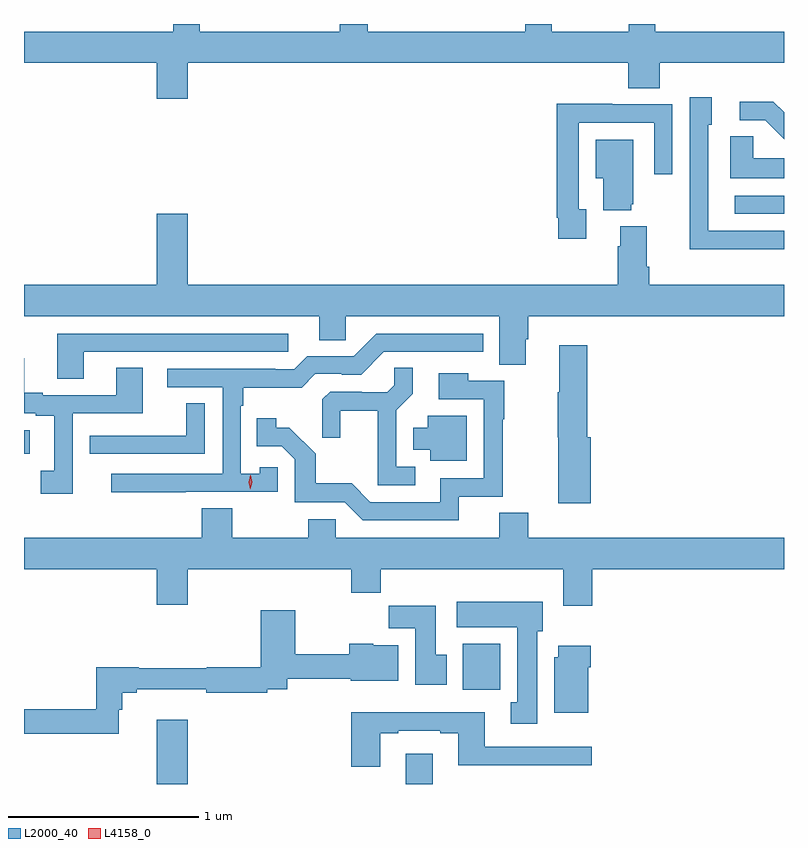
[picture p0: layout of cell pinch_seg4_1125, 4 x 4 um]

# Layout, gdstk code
import gdstk
lib = gdstk.Library(unit=1e-6, precision=1e-09)
def R(c, l, rs):  # rectangles x0, y0, x1, y1
    for r in rs: c.add(gdstk.rectangle(r[:2], r[2:], *l))
def P(c, l, *ps):  # polygons
    for p in ps: c.add(gdstk.Polygon(p, *l))
L2000_40 = (2000, 40)
L4158_0 = (4158, 0)

pinch_seg4_1125 = lib.new_cell('pinch_seg4_1125')
R(pinch_seg4_1125, L2000_40, [(452.72,751.733,452.884,752.071), (454.031,751.733,454.171,751.891), (454.331,752.228,454.528,752.47), (452.021,753.471,452.05,753.595), (455.763,754.734,456.021,754.83)])
P(pinch_seg4_1125, L2000_40, [(452.884,755.528),(455.201,755.528),(455.201,755.395),(455.366,755.395),(455.366,755.528),(456.021,755.528),(456.021,755.692),(455.344,755.692),(455.344,755.733),(455.204,755.733),(455.204,755.692),(454.798,755.692),(454.798,755.733),(454.659,755.733),(454.659,755.692),(453.831,755.692),(453.831,755.733),(453.683,755.733),(453.683,755.692),(452.947,755.692),(452.947,755.733),(452.807,755.733),(452.807,755.692),(452.021,755.692),(452.021,755.528),(452.72,755.528),(452.72,755.34),(452.884,755.34)],
  [(455.987,754.548),(456.021,754.548),(456.021,754.644),(455.622,754.644),(455.622,755.202),(455.641,755.202),(455.641,755.347),(455.526,755.347),(455.526,754.853),(455.524,754.853),(455.524,754.547),(455.987,754.547)],
  [(456.021,755.268),(455.965,755.324),(455.787,755.324),(455.787,755.226),(455.921,755.226),(456.021,755.126)],
  [(454.981,754.758),(454.941,754.758),(454.941,755.214),(455.337,755.214),(455.337,754.941),(455.433,754.941),(455.433,755.31),(455.117,755.31),(455.117,755.312),(454.825,755.312),(454.825,754.714),(454.833,754.714),(454.833,754.602),(454.981,754.602)],
  [(456.021,755.026),(455.859,755.026),(455.859,755.141),(455.738,755.141),(455.738,754.922),(456.021,754.922)],
  [(455.216,754.785),(455.227,754.785),(455.227,755.125),(455.03,755.125),(455.03,754.922),(455.069,754.922),(455.069,754.754),(455.216,754.754)],
  [(454.663,754.074),(454.676,754.074),(454.676,754.196),(456.021,754.196),(456.021,754.36),(455.312,754.36),(455.312,754.456),(455.299,754.456),(455.299,754.669),(455.159,754.669),(455.159,754.562),(455.147,754.562),(455.147,754.36),(452.884,754.36),(452.884,754.735),(452.72,754.735),(452.72,754.36),(452.021,754.36),(452.021,754.196),(453.575,754.196),(453.575,754.069),(453.714,754.069),(453.714,754.196),(454.523,754.196),(454.523,753.94),(454.663,753.94)],
  [(452.873,753.27),(453.357,753.27),(453.357,753.399),(453.261,753.399),(453.261,753.367),(453.162,753.367),(453.162,753.725),(453.175,753.725),(453.175,753.818),(453.482,753.818),(453.555,753.891),(453.694,753.891),(453.694,753.888),(453.795,753.888),(453.915,754.008),(454.438,754.008),(454.438,754.104),(453.876,754.104),(453.756,753.984),(453.513,753.984),(453.444,753.915),(453.344,753.915),(453.344,753.918),(452.775,753.918),(452.775,753.822),(453.066,753.822),(453.066,753.366),(452.481,753.366),(452.481,753.268),(452.873,753.268)],
  [(452.335,754.008),(453.412,754.008),(453.412,754.104),(452.195,754.104),(452.195,753.865),(452.335,753.865)],
  [(455.003,753.558),(454.985,753.558),(454.985,754.042),(454.838,754.042),(454.838,753.794),(454.831,753.794),(454.831,753.558),(454.832,753.558),(454.832,753.21),(455.003,753.21)],
  [(452.277,753.684),(452.647,753.684),(452.647,753.923),(452.507,753.923),(452.507,753.78),(452.119,753.78),(452.119,753.793),(452.023,753.793),(452.023,753.973),(452.021,753.973),(452.021,753.684),(452.084,753.684),(452.084,753.672),(452.18,753.672),(452.18,753.381),(452.109,753.381),(452.109,753.261),(452.277,753.261)],
  [(454.081,753.402),(453.981,753.402),(453.981,753.701),(454.067,753.787),(454.067,753.923),(453.969,753.923),(453.969,753.832),(453.932,753.795),(453.798,753.795),(453.798,753.798),(453.633,753.798),(453.592,753.757),(453.592,753.555),(453.686,753.555),(453.686,753.698),(453.884,753.698),(453.884,753.306),(454.081,753.306)],
  [(454.31,753.246),(454.541,753.246),(454.541,753.652),(454.549,753.652),(454.549,753.855),(454.359,753.855),(454.359,753.895),(454.203,753.895),(454.203,753.759),(454.44,753.759),(454.44,753.342),(454.211,753.342),(454.211,753.216),(453.843,753.216),(453.745,753.315),(453.556,753.315),(453.556,753.47),(453.418,753.608),(453.348,753.608),(453.348,753.658),(453.247,753.658),(453.247,753.51),(453.378,753.51),(453.447,753.441),(453.447,753.216),(453.708,753.216),(453.804,753.12),(454.31,753.12)],
  [(452.973,753.737),(452.875,753.737),(452.875,753.567),(452.479,753.567),(452.479,753.566),(452.367,753.566),(452.367,753.471),(452.973,753.471)],
  [(454.351,753.67),(454.145,753.67),(454.145,753.607),(454.07,753.607),(454.07,753.491),(454.16,753.491),(454.16,753.434),(454.351,753.434)],
  [(455.012,752.864),(456.021,752.864),(456.021,753.028),(454.676,753.028),(454.676,753.161),(454.523,753.161),(454.523,753.028),(453.663,753.028),(453.663,753.126),(453.517,753.126),(453.517,753.028),(453.117,753.028),(453.117,753.185),(452.957,753.185),(452.957,753.028),(452.021,753.028),(452.021,752.864),(452.72,752.864),(452.72,752.676),(452.884,752.676),(452.884,752.864),(453.743,752.864),(453.743,752.74),(453.899,752.74),(453.899,752.864),(454.859,752.864),(454.859,752.67),(455.012,752.67)],
  [(454.723,752.538),(454.75,752.538),(454.75,752.692),(454.299,752.692),(454.299,752.558),(454.616,752.558),(454.616,752.162),(454.583,752.162),(454.583,752.049),(454.723,752.049)],
  [(454.246,752.412),(454.189,752.412),(454.189,752.671),(453.94,752.671),(453.94,752.552),(454.079,752.552),(454.079,752.256),(454.246,752.256)],
  [(452.519,752.124),(452.537,752.124),(452.537,752.212),(452.614,752.212),(452.614,752.231),(452.98,752.231),(452.98,752.212),(453.302,752.212),(453.302,752.232),(453.406,752.232),(453.406,752.287),(453.74,752.287),(453.74,752.276),(453.991,752.276),(453.991,752.464),(453.858,752.464),(453.858,752.47),(453.733,752.47),(453.733,752.416),(453.449,752.416),(453.449,752.647),(453.266,752.647),(453.266,752.348),(452.982,752.348),(452.982,752.341),(452.624,752.341),(452.624,752.348),(452.401,752.348),(452.401,752.126),(452.021,752.126),(452.021,751.998),(452.519,751.998)],
  [(454.99,752.348),(455.003,752.348),(455.003,752.461),(454.832,752.461),(454.832,752.4),(454.811,752.4),(454.811,752.108),(454.99,752.108)],
  [(453.895,752.001),(453.991,752.001),(453.991,752.013),(454.211,752.013),(454.211,752.001),(454.307,752.001),(454.307,751.832),(455.008,751.832),(455.008,751.929),(454.447,751.929),(454.447,752.11),(453.743,752.11),(453.743,751.824),(453.895,751.824)])
P(pinch_seg4_1125, L4158_0, [(453.212,753.285),(453.212,753.285),(453.203,753.321),(453.213,753.357),(453.213,753.358),(453.214,753.357),(453.223,753.321),(453.213,753.285)])

lib.write_gds('pinch_seg4_1125.gds')
